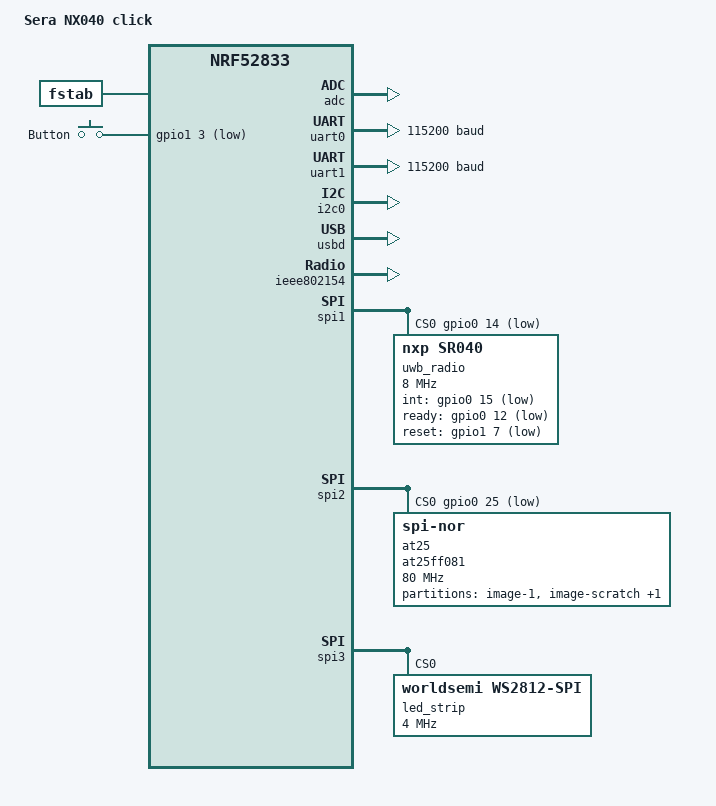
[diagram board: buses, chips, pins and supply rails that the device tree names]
/*
 * Copyright (c) 2024 Ezurio
 *
 * SPDX-License-Identifier: Apache-2.0
 */

/dts-v1/;
#include <zephyr/dt-bindings/led/led.h>
#include <nordic/nrf52833_qiaa.dtsi>
#include "sera_nx040_click-pinctrl.dtsi"

/ {
	model = "Sera NX040 click";
	compatible = "ezurio,sera_nx040_click";

	chosen {
		zephyr,console = &cdc_acm_uart1;
		zephyr,shell-uart = &cdc_acm_uart1;
		zephyr,uart-mcumgr = &cdc_acm_uart1;
		zephyr,bt-mon-uart = &cdc_acm_uart1;
		zephyr,bt-c2h-uart = &cdc_acm_uart1;
		zephyr,sram = &sram0;
		zephyr,flash = &flash0;
		zephyr,ieee802154 = &ieee802154;
		nordic,pm-ext-flash = &at25;
	};

	fstab {
		compatible = "zephyr,fstab";
		lfs1: lfs1 {
			compatible = "zephyr,fstab,littlefs";
			mount-point = "/lfs1";
			partition = <&littlefs_storage>;
			automount;
			read-size = <16>;
			prog-size = <16>;
			cache-size = <64>;
			lookahead-size = <32>;
			block-cycles = <512>;
		};
	};

	buttons {
		compatible = "gpio-keys";
		button1: button_1 {
			gpios = <&gpio1 3 GPIO_ACTIVE_LOW>;
			label = "Button";
		};
	};

	/* These aliases are provided for compatibility with samples */
	aliases {
		led-strip = &led_strip;
		mcuboot-button0 = &button1;
		watchdog0 = &wdt0;

	};
};

&adc {
	status = "okay";
};

&gpiote {
	status = "okay";
};

&gpio0 {
	status = "okay";
};

&gpio1 {
	status = "okay";
};

&uart0 {
	compatible = "nordic,nrf-uarte";
	current-speed = <115200>;
	status = "okay";
	pinctrl-0 = <&uart0_default>;
	pinctrl-1 = <&uart0_sleep>;
	pinctrl-names = "default", "sleep";
};

&uart1 {
	compatible = "nordic,nrf-uarte";
	current-speed = <115200>;
	status = "okay";
	pinctrl-0 = <&uart1_default>;
	pinctrl-1 = <&uart1_sleep>;
	pinctrl-names = "default", "sleep";
};

&i2c0 {
	compatible = "nordic,nrf-twi";
	status = "okay";
	pinctrl-0 = <&i2c0_default>;
	pinctrl-1 = <&i2c0_sleep>;
	pinctrl-names = "default", "sleep";
};

&flash0 {
	partitions {
		compatible = "fixed-partitions";
		#address-cells = <1>;
		#size-cells = <1>;

		boot_partition: partition@0 {
			label = "mcuboot";
			reg = <0x00000000 0x00009200>;
		};

		slot0_partition: partition@9200 {
			label = "image-0";
			reg = <0x00009200 0x00076E00>;
		};
	};
};

zephyr_udc0: &usbd {
	compatible = "nordic,nrf-usbd";
	status = "okay";

	cdc_acm_uart0: cdc_acm_uart0 {
		compatible = "zephyr,cdc-acm-uart";
	};

	cdc_acm_uart1: cdc_acm_uart1 {
		compatible = "zephyr,cdc-acm-uart";
	};
};

&ieee802154 {
	status = "okay";
};

/* SPI bus to UWB radio */
&spi1 {
	compatible = "nordic,nrf-spim";
	status = "okay";
	cs-gpios = <&gpio0 14 GPIO_ACTIVE_LOW>;
	pinctrl-0 = <&spi1_default>;
	pinctrl-1 = <&spi1_sleep>;
	pinctrl-names = "default", "sleep";
	uwb_radio: sr040@0 {
		compatible = "nxp,sr040";
		reg = <0>;
		spi-max-frequency = <8000000>;
		int-gpios = <&gpio0 15 GPIO_ACTIVE_LOW>;
		ready-gpios = <&gpio0 12 GPIO_ACTIVE_LOW>;
		reset-gpios = <&gpio1 7 GPIO_ACTIVE_LOW>;
	};
};

/* SPI bus to module SPI flash and external SPI pins */
&spi2 {
	compatible = "nordic,nrf-spim";
	status = "okay";
	cs-gpios = <&gpio0 25 GPIO_ACTIVE_LOW>, <&gpio0 20 GPIO_ACTIVE_LOW>;
	pinctrl-0 = <&spi2_default>;
	pinctrl-1 = <&spi2_sleep>;
	pinctrl-names = "default", "sleep";
	at25: at25ff081@0 {
		compatible = "jedec,spi-nor";
		reg = <0>;
		spi-max-frequency = <80000000>;
		size = <8388608>;
		has-dpd;
		t-enter-dpd = <10000>;
		t-exit-dpd = <35000>;
	};
};

&spi3 {
	compatible = "nordic,nrf-spim";
	status = "okay";
	pinctrl-0 = <&spi3_default>;
	pinctrl-1 = <&spi3_sleep>;
	pinctrl-names = "default", "sleep";
	led_strip: ws2812@0 {
		compatible = "worldsemi,ws2812-spi";
		status = "okay";

		/* SPI */
		reg = <0>; /* ignored, but necessary for SPI bindings */
		spi-max-frequency = <4000000>;

		/* WS2812 */
		chain-length = <16>;
		color-mapping = <LED_COLOR_ID_RED
			LED_COLOR_ID_GREEN
			LED_COLOR_ID_BLUE>;
		spi-one-frame = <0xf8>;
		spi-zero-frame = <0xc0>;
	};
};

&at25 {
	partitions {
		compatible = "fixed-partitions";
		#address-cells = <1>;
		#size-cells = <1>;

		slot1_partition: partition@0 {
			label = "image-1";
			reg = <0x00000000 0x00077000>;
		};
		scratch_partition: partition@77000 {
			label = "image-scratch";
			reg = <0x00077000 0x00019000>;
		};

		littlefs_storage: partition@90000 {
			label = "littlefs_storage";
			reg = <0x00090000 0x00070000>;
		};
	};
};

&uicr {
	gpio-as-nreset;
};

&reg1 {
	regulator-initial-mode = <NRF5X_REG_MODE_DCDC>;
};
